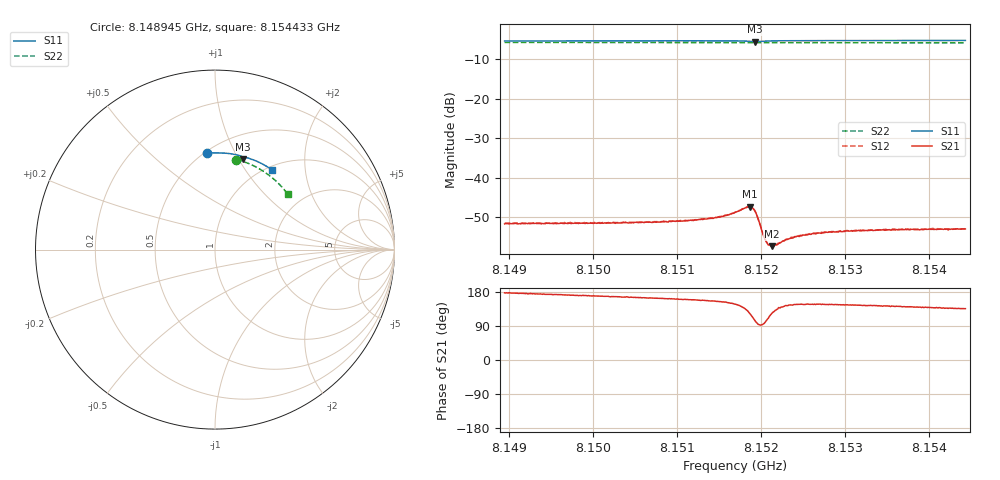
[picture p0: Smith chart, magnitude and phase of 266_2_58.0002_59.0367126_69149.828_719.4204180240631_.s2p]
#  HZ  S  RI  R  50.00
! Rohde & Schwarz Vector Network Analyzer
! Rohde-Schwarz,ZNB20-2Port,1311601062101988,3.16
! Created: UTC 3/21/2024, 1:02:11 AM
! freq[Hz]  re:S11  im:S11  re:S21  im:S21  re:S12  im:S12  re:S22  im:S22
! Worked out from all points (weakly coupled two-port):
!   401 points, 8.148945 GHz to 8.154433 GHz, reference 50 ohm
!   highest |S21| = -47.33 dB at 8.151867 GHz (marker M1); lowest = -57.3 dB at 8.152128 GHz (marker M2)
!   lowest |S11| = -5.5 dB at 8.151922 GHz (marker M3), VSWR 3.24, Z = 37.3 + j52.3 ohm
!   |S11| at or under -10 dB: nowhere
!   |S22| runs from -5.9 to -5.7 dB; largest |S21 - S12| = 0.00012
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8.148945e9  -0.0441 0.5361  -0.0026 0.000128  -0.00263 0.000172  0.1198 0.5019
8.1498643e9  0.02 0.5392  -0.00262 0.000468  -0.00262 0.000519  0.1768 0.4837
8.1507836e9  0.0843 0.5344  -0.00262 0.000814  -0.00266 0.000871  0.231 0.4591
8.1512226e9  0.1151 0.5293  -0.00272 0.00107  -0.00273 0.00112  0.2558 0.4453
8.1514147e9  0.1288 0.5261  -0.0028 0.00124  -0.00282 0.0013  0.2662 0.4388
8.1515656e9  0.1398 0.523  -0.00293 0.00151  -0.00295 0.00157  0.2745 0.4334
8.1516891e9  0.1491 0.5192  -0.00308 0.00198  -0.00305 0.00199  0.281 0.4289
8.1518126e9  0.1578 0.5122  -0.00292 0.00296  -0.00292 0.003  0.2875 0.4241
8.1518675e9  0.1592 0.5076  -0.00231 0.00363  -0.00227 0.00367  0.2903 0.4221
8.1518949e9  0.1585 0.5058  -0.00172 0.00382  -0.00167 0.00386  0.2915 0.421
8.1519224e9  0.1569 0.505  -0.000986 0.00374  -0.000973 0.00374  0.2928 0.4199
8.1519635e9  0.1556 0.5067  -0.000238 0.00303  -0.000234 0.00304  0.2948 0.4187
8.1520321e9  0.1585 0.5112  -0.000183 0.0018  -0.000165 0.00183  0.2982 0.4162
8.1520596e9  0.1609 0.5123  -0.000349 0.00151  -0.000321 0.00155  0.2998 0.4153
8.1521007e9  0.1644 0.513  -0.000628 0.00129  -0.000567 0.00129  0.302 0.4137
8.1521282e9  0.1669 0.5131  -0.000745 0.00114  -0.000738 0.00118  0.3035 0.4127
8.1521831e9  0.1715 0.5127  -0.000975 0.00105  -0.000943 0.00104  0.3063 0.4105
8.1523477e9  0.1843 0.5102  -0.00141 0.000973  -0.0014 0.00102  0.3147 0.404
8.1526084e9  0.2026 0.5043  -0.00165 0.00106  -0.00162 0.00111  0.3273 0.3933
8.15302e9  0.2298 0.4934  -0.00176 0.0012  -0.00176 0.00123  0.3469 0.3755
8.1535277e9  0.2617 0.4781  -0.00175 0.00134  -0.00171 0.00139  0.3694 0.3524
8.1544332e9  0.3155 0.446  -0.0016 0.00158  -0.00162 0.00161  0.4057 0.3077
